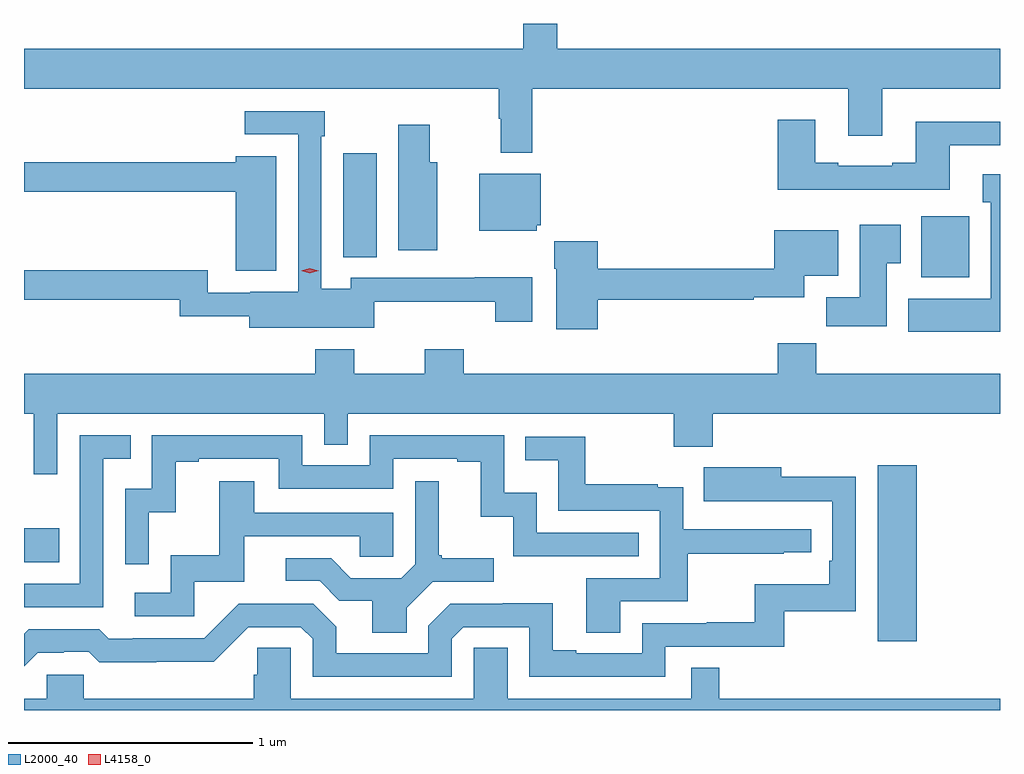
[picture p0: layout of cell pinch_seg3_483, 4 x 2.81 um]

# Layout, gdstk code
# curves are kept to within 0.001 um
import gdstk
lib = gdstk.Library(unit=1e-6, precision=1e-09)
def R(c, l, rs):  # rectangles x0, y0, x1, y1
    for r in rs: c.add(gdstk.rectangle(r[:2], r[2:], *l))
def P(c, l, *ps):  # polygons
    for p in ps: c.add(gdstk.Polygon(p, *l))
L2000_40 = (2000, 40)
L4158_0 = (4158, 0)

pinch_seg3_483 = lib.new_cell('pinch_seg3_483')
R(pinch_seg3_483, L2000_40, [(1014.257,666.684,1014.418,667.405), (1010.759,667.007,1010.903,667.147), (1014.437,668.174,1014.633,668.425), (1012.067,668.257,1012.204,668.683)])
P(pinch_seg3_483, L2000_40, [(1012.841,668.948),(1014.137,668.948),(1014.137,668.754),(1014.277,668.754),(1014.277,668.948),(1014.759,668.948),(1014.759,669.112),(1012.945,669.112),(1012.945,669.214),(1012.805,669.214),(1012.805,669.112),(1010.759,669.112),(1010.759,668.948),(1012.705,668.948),(1012.705,668.825),(1012.713,668.825),(1012.713,668.685),(1012.841,668.685)],
  [(1012.194,668.075),(1012.691,668.075),(1012.691,667.992),(1012.843,667.992),(1012.843,668.174),(1012.607,668.174),(1012.607,668.172),(1012.098,668.172),(1012.098,668.128),(1011.978,668.128),(1011.978,668.753),(1011.991,668.753),(1011.991,668.856),(1011.663,668.856),(1011.663,668.76),(1011.882,668.76),(1011.882,668.116),(1011.687,668.116),(1011.687,668.112),(1011.513,668.112),(1011.513,668.203),(1010.759,668.203),(1010.759,668.082),(1011.397,668.082),(1011.397,668.014),(1011.683,668.014),(1011.683,667.967),(1012.194,667.967)],
  [(1014.553,668.715),(1014.759,668.715),(1014.759,668.812),(1014.413,668.812),(1014.413,668.644),(1014.317,668.644),(1014.317,668.631),(1014.097,668.631),(1014.097,668.644),(1014.001,668.644),(1014.001,668.821),(1013.849,668.821),(1013.849,668.534),(1014.553,668.534)],
  [(1012.453,668.647),(1012.422,668.647),(1012.422,668.8),(1012.292,668.8),(1012.292,668.286),(1012.453,668.286)],
  [(1011.793,668.671),(1011.626,668.671),(1011.626,668.647),(1010.759,668.647),(1010.759,668.526),(1011.626,668.526),(1011.626,668.201),(1011.793,668.201)],
  [(1012.86,668.388),(1012.876,668.388),(1012.876,668.599),(1012.625,668.599),(1012.625,668.366),(1012.86,668.366)],
  [(1014.759,668.596),(1014.689,668.596),(1014.689,668.483),(1014.722,668.483),(1014.722,668.086),(1014.383,668.086),(1014.383,667.952),(1014.759,667.952)],
  [(1014.295,668.233),(1014.352,668.233),(1014.352,668.389),(1014.185,668.389),(1014.185,668.092),(1014.046,668.092),(1014.046,667.974),(1014.295,667.974)],
  [(1013.111,668.082),(1013.75,668.082),(1013.75,668.093),(1013.956,668.093),(1013.956,668.18),(1014.097,668.18),(1014.097,668.368),(1013.834,668.368),(1013.834,668.21),(1013.111,668.21),(1013.111,668.323),(1012.933,668.323),(1012.933,668.21),(1012.94,668.21),(1012.94,667.962),(1013.111,667.962)],
  [(1010.895,667.616),(1011.99,667.616),(1011.99,667.489),(1012.086,667.489),(1012.086,667.616),(1013.422,667.616),(1013.422,667.481),(1013.582,667.481),(1013.582,667.616),(1014.759,667.616),(1014.759,667.78),(1014.005,667.78),(1014.005,667.904),(1013.849,667.904),(1013.849,667.78),(1012.562,667.78),(1012.562,667.879),(1012.402,667.879),(1012.402,667.78),(1012.113,667.78),(1012.113,667.879),(1011.953,667.879),(1011.953,667.78),(1010.759,667.78),(1010.759,667.616),(1010.798,667.616),(1010.798,667.368),(1010.895,667.368)],
  [(1011.27,667.211),(1011.38,667.211),(1011.38,667.419),(1011.475,667.419),(1011.475,667.431),(1011.804,667.431),(1011.804,667.308),(1012.272,667.308),(1012.272,667.431),(1012.535,667.431),(1012.535,667.419),(1012.631,667.419),(1012.631,667.193),(1012.764,667.193),(1012.764,667.032),(1013.279,667.032),(1013.279,667.128),(1012.86,667.128),(1012.86,667.291),(1012.728,667.291),(1012.728,667.527),(1012.176,667.527),(1012.176,667.404),(1011.9,667.404),(1011.9,667.527),(1011.282,667.527),(1011.282,667.308),(1011.174,667.308),(1011.174,666.999),(1011.27,666.999)],
  [(1011.084,667.431),(1011.197,667.431),(1011.197,667.527),(1010.988,667.527),(1010.988,666.918),(1010.759,666.918),(1010.759,666.822),(1011.084,666.822)],
  [(1013.203,666.846),(1013.48,666.846),(1013.48,667.042),(1013.873,667.042),(1013.873,667.047),(1013.986,667.047),(1013.986,667.143),(1013.46,667.143),(1013.46,667.315),(1013.357,667.315),(1013.357,667.327),(1013.059,667.327),(1013.059,667.521),(1012.813,667.521),(1012.813,667.424),(1012.948,667.424),(1012.948,667.218),(1013.364,667.218),(1013.364,666.942),(1013.063,666.942),(1013.063,666.718),(1013.203,666.718)],
  [(1012.512,666.693),(1012.56,666.741),(1012.83,666.741),(1012.83,666.537),(1013.388,666.537),(1013.388,666.66),(1013.875,666.66),(1013.875,666.807),(1014.168,666.807),(1014.168,667.358),(1013.863,667.358),(1013.863,667.396),(1013.545,667.396),(1013.545,667.256),(1014.072,667.257),(1014.072,667.012),(1014.059,667.012),(1014.059,666.916),(1013.754,666.916),(1013.754,666.761),(1013.557,666.761),(1013.557,666.756),(1013.292,666.756),(1013.292,666.633),(1013.023,666.633),(1013.023,666.646),(1012.927,666.646),(1012.927,666.839),(1012.722,666.839),(1012.722,666.837),(1012.506,666.837),(1012.416,666.747),(1012.416,666.633),(1012.039,666.633),(1012.039,666.743),(1011.945,666.837),(1011.639,666.837),(1011.498,666.696),(1011.205,666.696),(1011.205,666.693),(1011.106,666.693),(1011.067,666.732),(1010.778,666.732),(1010.759,666.713),(1010.759,666.58),(1010.815,666.636),(1010.922,666.636),(1010.922,666.639),(1011.025,666.639),(1011.067,666.597),(1011.3,666.597),(1011.3,666.599),(1011.536,666.599),(1011.678,666.741),(1011.894,666.741),(1011.942,666.693),(1011.942,666.537),(1012.512,666.537)],
  [(1011.456,666.927),(1011.661,666.927),(1011.661,667.113),(1012.135,667.113),(1012.135,667.029),(1012.272,667.029),(1012.272,667.209),(1011.703,667.209),(1011.703,667.339),(1011.559,667.339),(1011.559,667.036),(1011.36,667.036),(1011.36,666.882),(1011.213,666.882),(1011.213,666.786),(1011.456,666.786)],
  [(1012.327,666.82),(1012.434,666.927),(1012.684,666.927),(1012.684,667.024),(1012.471,667.024),(1012.471,667.036),(1012.459,667.036),(1012.459,667.339),(1012.362,667.339),(1012.362,666.999),(1012.305,666.942),(1012.099,666.942),(1012.018,667.023),(1011.831,667.023),(1011.831,666.93),(1011.972,666.93),(1012.052,666.85),(1012.187,666.85),(1012.187,666.718),(1012.327,666.718)],
  [(1014.759,666.448),(1013.609,666.448),(1013.609,666.575),(1013.493,666.575),(1013.493,666.448),(1012.741,666.448),(1012.741,666.656),(1012.602,666.656),(1012.602,666.448),(1011.852,666.448),(1011.852,666.656),(1011.715,666.656),(1011.715,666.546),(1011.701,666.546),(1011.701,666.448),(1011.003,666.448),(1011.003,666.546),(1010.853,666.546),(1010.853,666.448),(1010.759,666.448),(1010.759,666.4),(1014.759,666.4)])
P(pinch_seg3_483, L4158_0, [(1011.93,668.191),(1011.896,668.201),(1011.895,668.201),(1011.896,668.201),(1011.93,668.211),(1011.965,668.201),(1011.966,668.201),(1011.965,668.201)])

lib.write_gds('pinch_seg3_483.gds')
